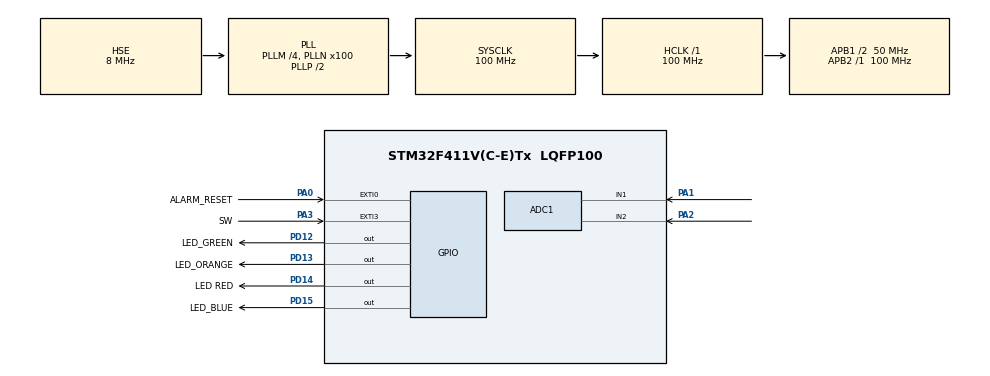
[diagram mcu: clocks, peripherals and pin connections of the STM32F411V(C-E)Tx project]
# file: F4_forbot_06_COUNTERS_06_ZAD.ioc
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ADC1.Channel-0\#ChannelRegularConversion=ADC_CHANNEL_1
ADC1.Channel-1\#ChannelRegularConversion=ADC_CHANNEL_2
ADC1.Channel-2\#ChannelRegularConversion=ADC_CHANNEL_TEMPSENSOR
ADC1.ClockPrescaler=ADC_CLOCK_SYNC_PCLK_DIV8
ADC1.ContinuousConvMode=ENABLE
ADC1.DMAContinuousRequests=ENABLE
ADC1.NbrOfConversion=3
ADC1.NbrOfConversionFlag=1
ADC1.Rank-0\#ChannelRegularConversion=1
ADC1.Rank-1\#ChannelRegularConversion=2
ADC1.Rank-2\#ChannelRegularConversion=3
ADC1.SamplingTime-0\#ChannelRegularConversion=ADC_SAMPLETIME_480CYCLES
ADC1.SamplingTime-1\#ChannelRegularConversion=ADC_SAMPLETIME_480CYCLES
ADC1.SamplingTime-2\#ChannelRegularConversion=ADC_SAMPLETIME_480CYCLES
ADC1.master=1
Dma.ADC1.0.Direction=DMA_PERIPH_TO_MEMORY
Dma.ADC1.0.FIFOMode=DMA_FIFOMODE_DISABLE
Dma.ADC1.0.Instance=DMA2_Stream0
Dma.ADC1.0.MemDataAlignment=DMA_MDATAALIGN_HALFWORD
Dma.ADC1.0.MemInc=DMA_MINC_ENABLE
Dma.ADC1.0.Mode=DMA_CIRCULAR
Dma.ADC1.0.PeriphDataAlignment=DMA_PDATAALIGN_HALFWORD
Dma.ADC1.0.PeriphInc=DMA_PINC_DISABLE
Dma.ADC1.0.Priority=DMA_PRIORITY_LOW
Dma.Request0=ADC1
Mcu.Family=STM32F4
Mcu.Name=STM32F411V(C-E)Tx
Mcu.Package=LQFP100
NVIC.DMA2_Stream0_IRQn=true\:0\:0\:true\:false\:true\:false\:true
NVIC.EXTI0_IRQn=true\:1\:0\:true\:false\:true\:true\:true
NVIC.EXTI3_IRQn=true\:1\:0\:true\:false\:true\:true\:true
NVIC.PriorityGroup=NVIC_PRIORITYGROUP_4
NVIC.TIM1_UP_TIM10_IRQn=true\:0\:0\:false\:false\:true\:true\:true
PA0-WKUP.GPIO_Label=ALARM_RESET
PA0-WKUP.GPIO_ModeDefaultEXTI=GPIO_MODE_IT_RISING
PA0-WKUP.GPIO_PuPd=GPIO_NOPULL
PA0-WKUP.Signal=GPXTI0
PA1.Signal=ADCx_IN1
PA2.Signal=ADCx_IN2
PA3.GPIO_Label=SW
PA3.GPIO_ModeDefaultEXTI=GPIO_MODE_IT_FALLING
PA3.GPIO_PuPd=GPIO_PULLUP
PA3.Signal=GPXTI3
PD12.GPIO_Label=LED_GREEN
PD12.Signal=GPIO_Output
PD13.GPIO_Label=LED_ORANGE
PD13.Signal=GPIO_Output
PD14.GPIO_Label=LED RED
PD14.Signal=GPIO_Output
PD15.GPIO_Label=LED_BLUE
PD15.Signal=GPIO_Output
PH0\ -\ OSC_IN.Mode=HSE-External-Oscillator
PH0\ -\ OSC_IN.Signal=RCC_OSC_IN
PH1\ -\ OSC_OUT.Mode=HSE-External-Oscillator
PH1\ -\ OSC_OUT.Signal=RCC_OSC_OUT
ProjectManager.HeapSize=0x200
ProjectManager.StackSize=0x400
ProjectManager.TargetToolchain=SW4STM32
RCC.48MHZClocksFreq_Value=50000000
RCC.AHBFreq_Value=100000000
RCC.APB1CLKDivider=RCC_HCLK_DIV2
RCC.APB1Freq_Value=50000000
RCC.APB1TimFreq_Value=100000000
RCC.APB2Freq_Value=100000000
RCC.APB2TimFreq_Value=100000000
RCC.CortexFreq_Value=100000000
RCC.HCLKFreq_Value=100000000
RCC.HSE_VALUE=8000000
RCC.HSI_VALUE=16000000
RCC.LSE_VALUE=32768
RCC.PLLM=4
RCC.PLLN=100
RCC.PLLSourceVirtual=RCC_PLLSOURCE_HSE
RCC.SYSCLKFreq_VALUE=100000000
RCC.SYSCLKSource=RCC_SYSCLKSOURCE_PLLCLK
RCC.VCOOutputFreq_Value=200000000
SH.ADCx_IN1.0=ADC1_IN1,IN1
SH.ADCx_IN2.0=ADC1_IN2,IN2
TIM10.Period=4999
TIM10.Prescaler=9999
VP_ADC1_TempSens_Input.Mode=IN-TempSens
VP_TIM10_VS_ClockSourceINT.Mode=Enable_Timer
board=custom

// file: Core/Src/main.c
/* USER CODE BEGIN Header */
/**
  ******************************************************************************
  * @file           : main.c
  * @brief          : Main program body
  ******************************************************************************
  * @attention
  *
  * <h2><center>&copy; Copyright (c) 2021 STMicroelectronics.
  * All rights reserved.</center></h2>
  *
  * This software component is licensed by ST under BSD 3-Clause license,
  * the "License"; You may not use this file except in compliance with the
  * License. You may obtain a copy of the License at:
  *                        opensource.org/licenses/BSD-3-Clause
  *
  ******************************************************************************
  */
/* USER CODE END Header */
#include "main.h"

//zadanie sterowanie joystickiem na ledkach + alarm sterowany timerem

ADC_HandleTypeDef hadc1;
DMA_HandleTypeDef hdma_adc1;

TIM_HandleTypeDef htim10;

/* USER CODE BEGIN PV */

uint16_t joystick[3];
uint16_t AlarmSet = RESET;
uint16_t ReverseWork = RESET;

/* USER CODE END PV */

void SystemClock_Config(void);
static void MX_GPIO_Init(void);
static void MX_DMA_Init(void);
static void MX_ADC1_Init(void);
static void MX_TIM10_Init(void);

/* USER CODE BEGIN PFP */

void AlarmFunction(void);
void HAL_GPIO_EXTI_Callback(uint16_t GPIO_Pin){				//przerwanie od ReversePin
	HAL_Delay(100);
	if (HAL_GPIO_ReadPin(GPIOA,SW_Pin) == GPIO_PIN_RESET){
		if (ReverseWork == SET){
			ReverseWork = RESET;
		}
		else{
			ReverseWork = SET;
		}
	}

}

void HAL_TIM_PeriodElapsedCallback(TIM_HandleTypeDef *htim){  	//przerwanie od przepelnienia licznika
	if (htim -> Instance == TIM10){								//je¿eli przerwanie pochodzi od timera 10
		HAL_GPIO_TogglePin(GPIOD,LED_GREEN_Pin|LED_ORANGE_Pin|LED_RED_Pin|LED_BLUE_Pin);
	}
}

/* USER CODE END PFP */

int main(void)
{

  /* MCU Configuration--------------------------------------------------------*/

  /* Reset of all peripherals, Initializes the Flash interface and the Systick. */
  HAL_Init();

  /* Configure the system clock */
  SystemClock_Config();

  /* Initialize all configured peripherals */
  MX_GPIO_Init();
  MX_DMA_Init();
  MX_ADC1_Init();
  MX_TIM10_Init();
  /* USER CODE BEGIN 2 */

  HAL_ADC_Start_DMA(&hadc1,joystick,3);

  /* USER CODE END 2 */

  /* Infinite loop */
  while (1)
  {

    /* USER CODE BEGIN 3 */
		 if (ReverseWork != SET)
		 {
			 //X - axis
			 if( joystick[0] < 0.25*4095 ){	//jezeli powyzej 0.25% wychylenia zapal
				 HAL_GPIO_WritePin(GPIOD, LED_GREEN_Pin, GPIO_PIN_SET);
			 }
			 else{
				 HAL_GPIO_WritePin(GPIOD, LED_GREEN_Pin, GPIO_PIN_RESET);
			 }
			 if( joystick[0] > 0.75*4095 ){
				 HAL_GPIO_WritePin(GPIOD, LED_RED_Pin, GPIO_PIN_SET);
			 }
			 else{
				 HAL_GPIO_WritePin(GPIOD, LED_RED_Pin, GPIO_PIN_RESET);
			 }
			 //Y - axis
			 if( joystick[1] > 0.75*4095 ){
				 HAL_GPIO_WritePin(GPIOD, LED_BLUE_Pin, GPIO_PIN_SET);
			 }
			 else{
				HAL_GPIO_WritePin(GPIOD, LED_BLUE_Pin, GPIO_PIN_RESET);
			 }
			 if( joystick[1] < 0.25*4095 ){
				HAL_GPIO_WritePin(GPIOD, LED_ORANGE_Pin, GPIO_PIN_SET);
			 }
			 else{
				HAL_GPIO_WritePin(GPIOD, LED_ORANGE_Pin, GPIO_PIN_RESET);
			 }
		 }
		 else
		 {
			 //X - axis
			 if( joystick[0] > 0.75*4095 ){
			 	HAL_GPIO_WritePin(GPIOD, LED_GREEN_Pin, GPIO_PIN_SET);
			 }
			 else{
			 	HAL_GPIO_WritePin(GPIOD, LED_GREEN_Pin, GPIO_PIN_RESET);
			 }

			 if( joystick[0] < 0.25*4095 ){
			 	HAL_GPIO_WritePin(GPIOD, LED_RED_Pin, GPIO_PIN_SET);
			 }
			 else{
				 HAL_GPIO_WritePin(GPIOD, LED_RED_Pin, GPIO_PIN_RESET);
			 }
			 //Y - axis
			 if( joystick[1] < 0.25*4095 ){
			 	HAL_GPIO_WritePin(GPIOD, LED_BLUE_Pin, GPIO_PIN_SET);
			 }
			 else{
			 	HAL_GPIO_WritePin(GPIOD, LED_BLUE_Pin, GPIO_PIN_RESET);
			 }
			 if( joystick[1] > 0.75*4095 ){
			 	HAL_GPIO_WritePin(GPIOD, LED_ORANGE_Pin, GPIO_PIN_SET);
			 }
			 else{
			 	HAL_GPIO_WritePin(GPIOD, LED_ORANGE_Pin, GPIO_PIN_RESET);
			 }
		 }
		 if (joystick[2] > 1060 ){
			 AlarmFunction();
		 }
  }
  /* USER CODE END 3 */
}

void SystemClock_Config(void)
{
  RCC_OscInitTypeDef RCC_OscInitStruct = {0};
  RCC_ClkInitTypeDef RCC_ClkInitStruct = {0};

  /** Configure the main internal regulator output voltage
  */
  __HAL_RCC_PWR_CLK_ENABLE();
  __HAL_PWR_VOLTAGESCALING_CONFIG(PWR_REGULATOR_VOLTAGE_SCALE1);
  /** Initializes the RCC Oscillators according to the specified parameters
  * in the RCC_OscInitTypeDef structure.
  */
  RCC_OscInitStruct.OscillatorType = RCC_OSCILLATORTYPE_HSE;
  RCC_OscInitStruct.HSEState = RCC_HSE_ON;
  RCC_OscInitStruct.PLL.PLLState = RCC_PLL_ON;
  RCC_OscInitStruct.PLL.PLLSource = RCC_PLLSOURCE_HSE;
  RCC_OscInitStruct.PLL.PLLM = 4;
  RCC_OscInitStruct.PLL.PLLN = 100;
  RCC_OscInitStruct.PLL.PLLP = RCC_PLLP_DIV2;
  RCC_OscInitStruct.PLL.PLLQ = 4;
  if (HAL_RCC_OscConfig(&RCC_OscInitStruct) != HAL_OK)
  {
    Error_Handler();
  }
  /** Initializes the CPU, AHB and APB buses clocks
  */
  RCC_ClkInitStruct.ClockType = RCC_CLOCKTYPE_HCLK|RCC_CLOCKTYPE_SYSCLK
                              |RCC_CLOCKTYPE_PCLK1|RCC_CLOCKTYPE_PCLK2;
  RCC_ClkInitStruct.SYSCLKSource = RCC_SYSCLKSOURCE_PLLCLK;
  RCC_ClkInitStruct.AHBCLKDivider = RCC_SYSCLK_DIV1;
  RCC_ClkInitStruct.APB1CLKDivider = RCC_HCLK_DIV2;
  RCC_ClkInitStruct.APB2CLKDivider = RCC_HCLK_DIV1;

  if (HAL_RCC_ClockConfig(&RCC_ClkInitStruct, FLASH_LATENCY_3) != HAL_OK)
  {
    Error_Handler();
  }
}

static void MX_ADC1_Init(void)
{

  ADC_ChannelConfTypeDef sConfig = {0};

  /** Configure the global features of the ADC (Clock, Resolution, Data Alignment and number of conversion)
  */
  hadc1.Instance = ADC1;
  hadc1.Init.ClockPrescaler = ADC_CLOCK_SYNC_PCLK_DIV8;
  hadc1.Init.Resolution = ADC_RESOLUTION_12B;
  hadc1.Init.ScanConvMode = ENABLE;
  hadc1.Init.ContinuousConvMode = ENABLE;
  hadc1.Init.DiscontinuousConvMode = DISABLE;
  hadc1.Init.ExternalTrigConvEdge = ADC_EXTERNALTRIGCONVEDGE_NONE;
  hadc1.Init.ExternalTrigConv = ADC_SOFTWARE_START;
  hadc1.Init.DataAlign = ADC_DATAALIGN_RIGHT;
  hadc1.Init.NbrOfConversion = 3;
  hadc1.Init.DMAContinuousRequests = ENABLE;
  hadc1.Init.EOCSelection = ADC_EOC_SINGLE_CONV;
  if (HAL_ADC_Init(&hadc1) != HAL_OK)
  {
    Error_Handler();
  }
  /** Configure for the selected ADC regular channel its corresponding rank in the sequencer and its sample time.
  */
  sConfig.Channel = ADC_CHANNEL_1;
  sConfig.Rank = 1;
  sConfig.SamplingTime = ADC_SAMPLETIME_480CYCLES;
  if (HAL_ADC_ConfigChannel(&hadc1, &sConfig) != HAL_OK)
  {
    Error_Handler();
  }
  /** Configure for the selected ADC regular channel its corresponding rank in the sequencer and its sample time.
  */
  sConfig.Channel = ADC_CHANNEL_2;
  sConfig.Rank = 2;
  if (HAL_ADC_ConfigChannel(&hadc1, &sConfig) != HAL_OK)
  {
    Error_Handler();
  }
  /** Configure for the selected ADC regular channel its corresponding rank in the sequencer and its sample time.
  */
  sConfig.Channel = ADC_CHANNEL_TEMPSENSOR;
  sConfig.Rank = 3;
  if (HAL_ADC_ConfigChannel(&hadc1, &sConfig) != HAL_OK)
  {
    Error_Handler();
  }

}

static void MX_TIM10_Init(void)
{

  htim10.Instance = TIM10;
  htim10.Init.Prescaler = 9999;
  htim10.Init.CounterMode = TIM_COUNTERMODE_UP;
  htim10.Init.Period = 4999;
  htim10.Init.ClockDivision = TIM_CLOCKDIVISION_DIV1;
  htim10.Init.AutoReloadPreload = TIM_AUTORELOAD_PRELOAD_DISABLE;
  if (HAL_TIM_Base_Init(&htim10) != HAL_OK)
  {
    Error_Handler();
  }

}

static void MX_DMA_Init(void)
{

  /* DMA controller clock enable */
  __HAL_RCC_DMA2_CLK_ENABLE();

  /* DMA interrupt init */
  /* DMA2_Stream0_IRQn interrupt configuration */
  HAL_NVIC_SetPriority(DMA2_Stream0_IRQn, 0, 0);
  HAL_NVIC_EnableIRQ(DMA2_Stream0_IRQn);

}

static void MX_GPIO_Init(void)
{
  GPIO_InitTypeDef GPIO_InitStruct = {0};

  /* GPIO Ports Clock Enable */
  __HAL_RCC_GPIOH_CLK_ENABLE();
  __HAL_RCC_GPIOA_CLK_ENABLE();
  __HAL_RCC_GPIOD_CLK_ENABLE();

  /*Configure GPIO pin Output Level */
  HAL_GPIO_WritePin(GPIOD, LED_GREEN_Pin|LED_ORANGE_Pin|LED_RED_Pin|LED_BLUE_Pin, GPIO_PIN_RESET);

  /*Configure GPIO pin : ALARM_RESET_Pin */
  GPIO_InitStruct.Pin = ALARM_RESET_Pin;
  GPIO_InitStruct.Mode = GPIO_MODE_IT_RISING;
  GPIO_InitStruct.Pull = GPIO_NOPULL;
  HAL_GPIO_Init(ALARM_RESET_GPIO_Port, &GPIO_InitStruct);

  /*Configure GPIO pin : SW_Pin */
  GPIO_InitStruct.Pin = SW_Pin;
  GPIO_InitStruct.Mode = GPIO_MODE_IT_FALLING;
  GPIO_InitStruct.Pull = GPIO_PULLUP;
  HAL_GPIO_Init(SW_GPIO_Port, &GPIO_InitStruct);

  /*Configure GPIO pins : LED_GREEN_Pin LED_ORANGE_Pin LED_RED_Pin LED_BLUE_Pin */
  GPIO_InitStruct.Pin = LED_GREEN_Pin|LED_ORANGE_Pin|LED_RED_Pin|LED_BLUE_Pin;
  GPIO_InitStruct.Mode = GPIO_MODE_OUTPUT_PP;
  GPIO_InitStruct.Pull = GPIO_NOPULL;
  GPIO_InitStruct.Speed = GPIO_SPEED_FREQ_LOW;
  HAL_GPIO_Init(GPIOD, &GPIO_InitStruct);

  /* EXTI interrupt init*/
  HAL_NVIC_SetPriority(EXTI0_IRQn, 1, 0);
  HAL_NVIC_EnableIRQ(EXTI0_IRQn);

  HAL_NVIC_SetPriority(EXTI3_IRQn, 1, 0);
  HAL_NVIC_EnableIRQ(EXTI3_IRQn);

}

/* USER CODE BEGIN 4 */

void AlarmFunction(void)
{

	while(1){
		HAL_TIM_Base_Start_IT(&htim10);
		if (HAL_GPIO_ReadPin(ALARM_RESET_GPIO_Port,ALARM_RESET_Pin) == SET){
			break;
		}
	}
	HAL_TIM_Base_Stop_IT(&htim10);

}

/* USER CODE END 4 */

void Error_Handler(void)
{
  __disable_irq();
  while (1)
  {
  }
}

/************************ (C) COPYRIGHT STMicroelectronics *****END OF FILE****/
